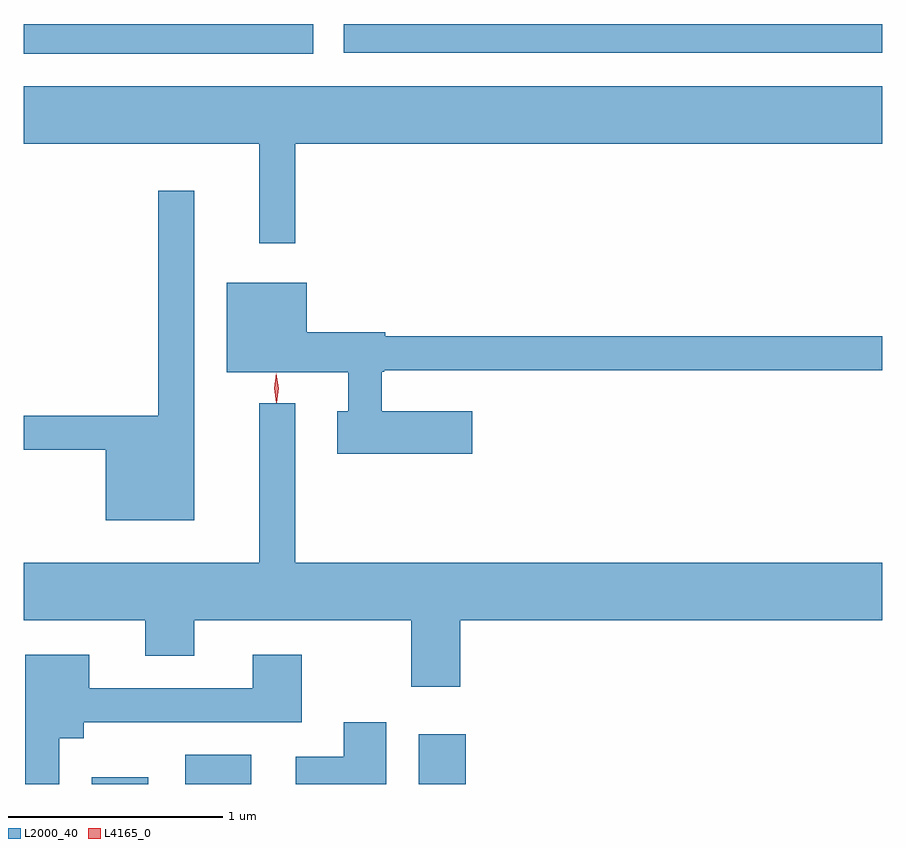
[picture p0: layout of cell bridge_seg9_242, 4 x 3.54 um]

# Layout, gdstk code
import gdstk
lib = gdstk.Library(unit=1e-6, precision=1e-09)
def R(c, l, rs):  # rectangles x0, y0, x1, y1
    for r in rs: c.add(gdstk.rectangle(r[:2], r[2:], *l))
def P(c, l, *ps):  # polygons
    for p in ps: c.add(gdstk.Polygon(p, *l))
L2000_40 = (2000, 40)
L4165_0 = (4165, 0)

bridge_seg9_242 = lib.new_cell('bridge_seg9_242')
R(bridge_seg9_242, L2000_40, [(1285.271,1944.432,1285.534,1944.464), (1285.706,1944.432,1286.014,1944.569), (1286.796,1944.432,1287.014,1944.664), (1284.955,1947.836,1286.303,1947.975), (1286.446,1947.841,1288.955,1947.975)])
P(bridge_seg9_242, L2000_40, [(1286.219,1947.416),(1288.955,1947.416),(1288.955,1947.684),(1284.955,1947.684),(1284.955,1947.416),(1286.051,1947.416),(1286.051,1946.953),(1286.219,1946.953)],
  [(1285.749,1947.198),(1285.581,1947.198),(1285.581,1946.149),(1284.955,1946.149),(1284.955,1945.991),(1285.336,1945.991),(1285.336,1945.661),(1285.749,1945.661)],
  [(1287.044,1946.169),(1286.624,1946.169),(1286.624,1946.355),(1286.635,1946.355),(1286.635,1946.361),(1288.955,1946.361),(1288.955,1946.519),(1286.639,1946.519),(1286.639,1946.539),(1286.274,1946.539),(1286.274,1946.769),(1285.901,1946.769),(1285.901,1946.351),(1286.466,1946.351),(1286.466,1946.169),(1286.416,1946.169),(1286.416,1945.971),(1287.044,1945.971)],
  [(1286.989,1945.196),(1288.955,1945.196),(1288.955,1945.464),(1286.219,1945.464),(1286.219,1946.208),(1286.051,1946.208),(1286.051,1945.464),(1284.955,1945.464),(1284.955,1945.196),(1285.521,1945.196),(1285.521,1945.031),(1285.749,1945.031),(1285.749,1945.196),(1286.761,1945.196),(1286.761,1944.886),(1286.989,1944.886)],
  [(1285.119,1944.646),(1285.234,1944.646),(1285.234,1944.721),(1286.249,1944.721),(1286.249,1945.034),(1286.021,1945.034),(1286.021,1944.879),(1285.259,1944.879),(1285.259,1945.034),(1284.961,1945.034),(1284.961,1944.432),(1285.119,1944.432)],
  [(1286.644,1944.719),(1286.446,1944.719),(1286.446,1944.559),(1286.221,1944.559),(1286.221,1944.432),(1286.644,1944.432)])
P(bridge_seg9_242, L4165_0, [(1286.132,1946.209),(1286.132,1946.21),(1286.122,1946.278),(1286.131,1946.346),(1286.131,1946.346),(1286.132,1946.346),(1286.142,1946.278),(1286.133,1946.21)],
  [(1286.132,1946.213),(1286.132,1946.213),(1286.122,1946.277),(1286.131,1946.34),(1286.131,1946.341),(1286.132,1946.34),(1286.142,1946.277),(1286.133,1946.213)])

lib.write_gds('bridge_seg9_242.gds')
